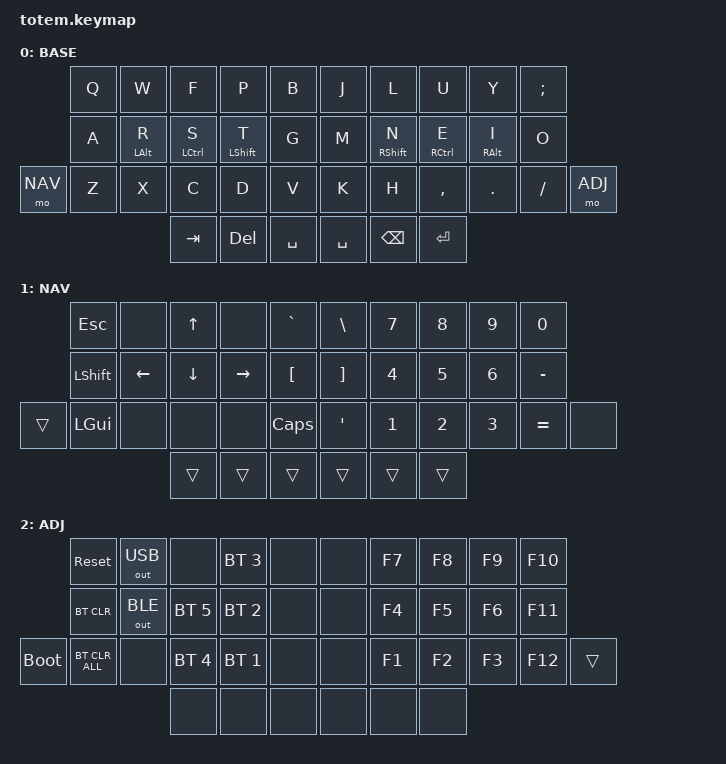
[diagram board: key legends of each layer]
//
//                                                        ▀▀▀▀▀     ▀▀▀▀▀          ▀▀█▀▀
//                                                        ▄▀▀▀▄  ▄  ▄▀▀▀▄  ▄  ▄▀▀▀▄  █  ▄▀▀▀▄
//                                                        █   █  █  █   █  █  █   █  █  █   █
//                                                         ▀▀▀   █   ▀▀▀   █   ▀▀▀   ▀   ▀▀▀
//                                                               █      ▄▄▄█▄▄▄    █   █  
//                                                               ▀      █  █  █     █▄█
//                                                             ▀▀▀▀▀    █  █  █      ▀
//                                                                      ▀  ▀  ▀
//
// ▄▄▄▄▄▄▄▄▄▄▄▄▄▄▄▄▄▄▄▄▄▄▄▄▄▄▄▄▄▄▄▄▄▄▄▄▄▄▄▄▄▄▄▄▄▄▄▄▄▄▄▄▄▄▄▄▄▄▄▄▄▄▄▄▄▄▄▄▄▄▄▄▄▄▄▄▄▄▄▄▄▄▄▄▄▄▄▄▄▄▄▄▄▄▄▄▄▄▄▄▄▄▄▄▄▄▄▄▄▄▄▄▄▄▄▄▄▄▄▄▄▄▄▄▄▄▄▄▄▄▄▄▄▄▄▄▄▄▄▄▄▄▄▄▄▄▄▄▄
       

#include <behaviors.dtsi>
#include <dt-bindings/zmk/keys.h>
#include <dt-bindings/zmk/bt.h>
#include <dt-bindings/zmk/outputs.h>

#define BASE 0
#define NAV  1
#define ADJ  2

&mt {
  quick-tap-ms = <100>;
  global-quick-tap;
  flavor = "tap-preferred";
  tapping-term-ms = <170>;
};

/ {
	keymap {
                compatible = "zmk,keymap";
// ▄▄▄▄▄▄▄▄▄▄▄▄▄▄▄▄▄▄▄▄▄▄▄▄▄▄▄▄▄▄▄▄▄▄▄▄▄▄▄▄▄▄▄▄▄▄▄▄▄▄▄▄▄▄▄▄▄▄▄▄▄▄▄▄▄▄▄▄▄▄▄▄▄▄▄▄▄▄▄▄▄▄▄▄▄▄▄▄▄▄▄▄▄▄▄▄▄▄▄▄▄▄▄▄▄▄▄▄▄▄▄▄▄▄▄▄▄▄▄▄▄▄▄▄▄▄▄▄▄▄▄▄▄▄▄▄▄▄▄▄▄▄▄▄▄▄▄▄▄

                base_layer {
// ┏━━━━━━━━━━━━━━━━━━━━━━━━━━━━━━━━━━━━━━━┓
label= "BASE"                              ;
// ┗━━━━━━━━━━━━━━━━━━━━━━━━━━━━━━━━━━━━━━━┛
//             ┏━━━━━━━━━━━┳━━━━━━━━━━━┳━━━━━━━━━━━┳━━━━━━━━━━━┳━━━━━━━━━━━┓   ┏━━━━━━━━━━━┳━━━━━━━━━━━┳━━━━━━━━━━━┳━━━━━━━━━━━┳━━━━━━━━━━━┓
//             ┃     Q     ┃     W     ┃     F     ┃     P     ┃     B     ┃   ┃     J     ┃     L     ┃     U     ┃     Y     ┃     ;     ┃
//             ┣━━━━━━━━━━━╋━━━━━━━━━━━╋━━━━━━━━━━━╋━━━━━━━━━━━╋━━━━━━━━━━━┫   ┣━━━━━━━━━━━╋━━━━━━━━━━━╋━━━━━━━━━━━╋━━━━━━━━━━━╋━━━━━━━━━━━┫
//             ┃     A     ┃     R     ┃     S     ┃     T     ┃     G     ┃   ┃     M     ┃     N     ┃     E     ┃     I     ┃     O     ┃
// ┏━━━━━━━━━━━╋━━━━━━━━━━━╋━━━━━━━━━━━╋━━━━━━━━━━━╋━━━━━━━━━━━╋━━━━━━━━━━━┫   ┣━━━━━━━━━━━╋━━━━━━━━━━━╋━━━━━━━━━━━╋━━━━━━━━━━━╋━━━━━━━━━━━╋━━━━━━━━━━━┓
// ┃    NAV    ┃     Z     ┃     X     ┃     C     ┃     D     ┃     V     ┃   ┃     K     ┃     H     ┃     ,     ┃     .     ┃     /     ┃    ADJ    ┃
// ┗━━━━━━━━━━━┻━━━━━━━━━━━┻━━━━━━━━━━━╋━━━━━━━━━━━╋━━━━━━━━━━━╋━━━━━━━━━━━┫   ┣━━━━━━━━━━━╋━━━━━━━━━━━╋━━━━━━━━━━━╋━━━━━━━━━━━┻━━━━━━━━━━━┻━━━━━━━━━━━┛
//                                     ┃    TAB    ┃    DEL    ┃    SPC    ┃   ┃    SPC    ┃    BSPC   ┃   ENTER   ┃
//                                     ┗━━━━━━━━━━━┻━━━━━━━━━━━┻━━━━━━━━━━━┛   ┗━━━━━━━━━━━┻━━━━━━━━━━━┻━━━━━━━━━━━┛
 bindings = <
// ╷           ╷           ╷           ╷           ╷           ╷           ╷   ╷           ╷           ╷           ╷           ╷           ╷           ╷

                &kp Q       &kp W       &kp F       &kp P       &kp B           &kp J       &kp L       &kp U       &kp Y       &kp SEMI
                &kp A       &mt LALT R  &mt LCTRL S &mt LSHFT T &kp G           &kp M       &mt RSHFT N &mt RCTRL E &mt RALT I  &kp O
    &mo NAV     &kp Z       &kp X       &kp C       &kp D       &kp V           &kp K       &kp H       &kp COMMA   &kp DOT     &kp FSLH    &mo ADJ 
                                        &kp TAB     &kp DEL     &kp SPACE       &kp SPACE   &kp BSPC    &kp ENTER 
                        >;
                };

// ▄▄▄▄▄▄▄▄▄▄▄▄▄▄▄▄▄▄▄▄▄▄▄▄▄▄▄▄▄▄▄▄▄▄▄▄▄▄▄▄▄▄▄▄▄▄▄▄▄▄▄▄▄▄▄▄▄▄▄▄▄▄▄▄▄▄▄▄▄▄▄▄▄▄▄▄▄▄▄▄▄▄▄▄▄▄▄▄▄▄▄▄▄▄▄▄▄▄▄▄▄▄▄▄▄▄▄▄▄▄▄▄▄▄▄▄▄▄▄▄▄▄▄▄▄▄▄▄▄▄▄▄▄▄▄▄▄▄▄▄▄▄▄▄▄▄▄▄▄


                nav_layer {
// ┏━━━━━━━━━━━━━━━━━━━━━━━━━━━━━━━━━━━━━━━┓
label= "NAV"                              ;
// ┗━━━━━━━━━━━━━━━━━━━━━━━━━━━━━━━━━━━━━━━┛
//             ┏━━━━━━━━━━━┳━━━━━━━━━━━┳━━━━━━━━━━━┳━━━━━━━━━━━┳━━━━━━━━━━━┓   ┏━━━━━━━━━━━┳━━━━━━━━━━━┳━━━━━━━━━━━┳━━━━━━━━━━━┳━━━━━━━━━━━┓
//             ┃    ESC    ┃           ┃     UP    ┃           ┃     `     ┃   ┃     \     ┃     7     ┃     8     ┃     9     ┃     0     ┃
//             ┣━━━━━━━━━━━╋━━━━━━━━━━━╋━━━━━━━━━━━╋━━━━━━━━━━━╋━━━━━━━━━━━┫   ┣━━━━━━━━━━━╋━━━━━━━━━━━╋━━━━━━━━━━━╋━━━━━━━━━━━╋━━━━━━━━━━━┫
//             ┃   SHIFT   ┃   LEFT    ┃    DOWN   ┃   RIGHT   ┃     [     ┃   ┃     ]     ┃     4     ┃     5     ┃     6     ┃     -     ┃
// ┏━━━━━━━━━━━╋━━━━━━━━━━━╋━━━━━━━━━━━╋━━━━━━━━━━━╋━━━━━━━━━━━╋━━━━━━━━━━━┫   ┣━━━━━━━━━━━╋━━━━━━━━━━━╋━━━━━━━━━━━╋━━━━━━━━━━━╋━━━━━━━━━━━╋━━━━━━━━━━━┓
// ┃           ┃   LGUI    ┃           ┃           ┃           ┃  C LOCK   ┃   ┃     '     ┃     1     ┃     2     ┃     3     ┃     =     ┃           ┃
// ┗━━━━━━━━━━━┻━━━━━━━━━━━┻━━━━━━━━━━━╋━━━━━━━━━━━╋━━━━━━━━━━━╋━━━━━━━━━━━┫   ┣━━━━━━━━━━━╋━━━━━━━━━━━╋━━━━━━━━━━━╋━━━━━━━━━━━┻━━━━━━━━━━━┻━━━━━━━━━━━┛
//                                     ┃    TAB    ┃    DEL    ┃    SPC    ┃   ┃    SPC    ┃    BSPC   ┃   ENTER   ┃
//                                     ┗━━━━━━━━━━━┻━━━━━━━━━━━┻━━━━━━━━━━━┛   ┗━━━━━━━━━━━┻━━━━━━━━━━━┻━━━━━━━━━━━┛
 bindings = <
// ╷           ╷           ╷           ╷           ╷           ╷           ╷   ╷           ╷           ╷           ╷           ╷           ╷           ╷

                &kp ESC     &none       &kp UP      &none       &kp GRAVE       &kp BSLH    &kp N7      &kp N8      &kp N9      &kp N0
                &kp LSHFT   &kp LEFT    &kp DOWN    &kp RIGHT   &kp LBKT        &kp RBKT    &kp N4      &kp N5      &kp N6      &kp MINUS
    &trans      &kp LGUI    &none       &none       &none       &kp CAPS        &kp APOS    &kp N1      &kp N2      &kp N3      &kp EQUAL   &none
                                        &trans      &trans      &trans          &trans      &trans      &trans
                        >;
                };

// ▄▄▄▄▄▄▄▄▄▄▄▄▄▄▄▄▄▄▄▄▄▄▄▄▄▄▄▄▄▄▄▄▄▄▄▄▄▄▄▄▄▄▄▄▄▄▄▄▄▄▄▄▄▄▄▄▄▄▄▄▄▄▄▄▄▄▄▄▄▄▄▄▄▄▄▄▄▄▄▄▄▄▄▄▄▄▄▄▄▄▄▄▄▄▄▄▄▄▄▄▄▄▄▄▄▄▄▄▄▄▄▄▄▄▄▄▄▄▄▄▄▄▄▄▄▄▄▄▄▄▄▄▄▄▄▄▄▄▄▄▄▄▄▄▄▄▄▄▄

                adjust_layer {
// ┏━━━━━━━━━━━━━━━━━━━━━━━━━━━━━━━━━━━━━━━┓
label= "ADJ"                               ;
// ┗━━━━━━━━━━━━━━━━━━━━━━━━━━━━━━━━━━━━━━━┛
//             ┏━━━━━━━━━━━┳━━━━━━━━━━━┳━━━━━━━━━━━┳━━━━━━━━━━━┳━━━━━━━━━━━┓   ┏━━━━━━━━━━━┳━━━━━━━━━━━┳━━━━━━━━━━━┳━━━━━━━━━━━┳━━━━━━━━━━━┓
//             ┃   RESET   ┃  OUT USB  ┃           ┃    BT3    ┃           ┃   ┃           ┃    F7     ┃    F8     ┃    F9     ┃    F10    ┃
//             ┣━━━━━━━━━━━╋━━━━━━━━━━━╋━━━━━━━━━━━╋━━━━━━━━━━━╋━━━━━━━━━━━┫   ┣━━━━━━━━━━━╋━━━━━━━━━━━╋━━━━━━━━━━━╋━━━━━━━━━━━╋━━━━━━━━━━━┫
//             ┃ BT CLEAR  ┃  OUT BLE  ┃    BT5    ┃    BT2    ┃           ┃   ┃           ┃    F4     ┃    F5     ┃    F6     ┃    F11    ┃
// ┏━━━━━━━━━━━╋━━━━━━━━━━━╋━━━━━━━━━━━╋━━━━━━━━━━━╋━━━━━━━━━━━╋━━━━━━━━━━━┫   ┣━━━━━━━━━━━╋━━━━━━━━━━━╋━━━━━━━━━━━╋━━━━━━━━━━━╋━━━━━━━━━━━╋━━━━━━━━━━━┓
// ┃ BOOTLOAD  ┃ BT CLR ALL┃           ┃    BT4    ┃    BT1    ┃           ┃   ┃           ┃    F1     ┃    F2     ┃    F3     ┃    F12    ┃           ┃
// ┗━━━━━━━━━━━┻━━━━━━━━━━━┻━━━━━━━━━━━╋━━━━━━━━━━━╋━━━━━━━━━━━╋━━━━━━━━━━━┫   ┣━━━━━━━━━━━╋━━━━━━━━━━━╋━━━━━━━━━━━╋━━━━━━━━━━━┻━━━━━━━━━━━┻━━━━━━━━━━━┛
//                                     ┃           ┃           ┃           ┃   ┃           ┃           ┃           ┃
//                                     ┗━━━━━━━━━━━┻━━━━━━━━━━━┻━━━━━━━━━━━┛   ┗━━━━━━━━━━━┻━━━━━━━━━━━┻━━━━━━━━━━━┛
 bindings = <
// ╷           ╷           ╷           ╷           ╷           ╷           ╷   ╷           ╷           ╷           ╷           ╷           ╷           ╷

                &sys_reset     &out OUT_USB &none        &bt BT_SEL 3 &none     &none       &kp F7      &kp F8      &kp F9      &kp F10
                &bt BT_CLR     &out OUT_BLE &bt BT_SEL 5 &bt BT_SEL 2 &none     &none       &kp F4      &kp F5      &kp F6      &kp F11  
    &bootloader &bt BT_CLR_ALL &none        &bt BT_SEL 4 &bt BT_SEL 1 &none     &none       &kp F1      &kp F2      &kp F3      &kp F12     &trans         
                                            &none        &none        &none     &none       &none       &none      
                        >;
                };
	};
};
